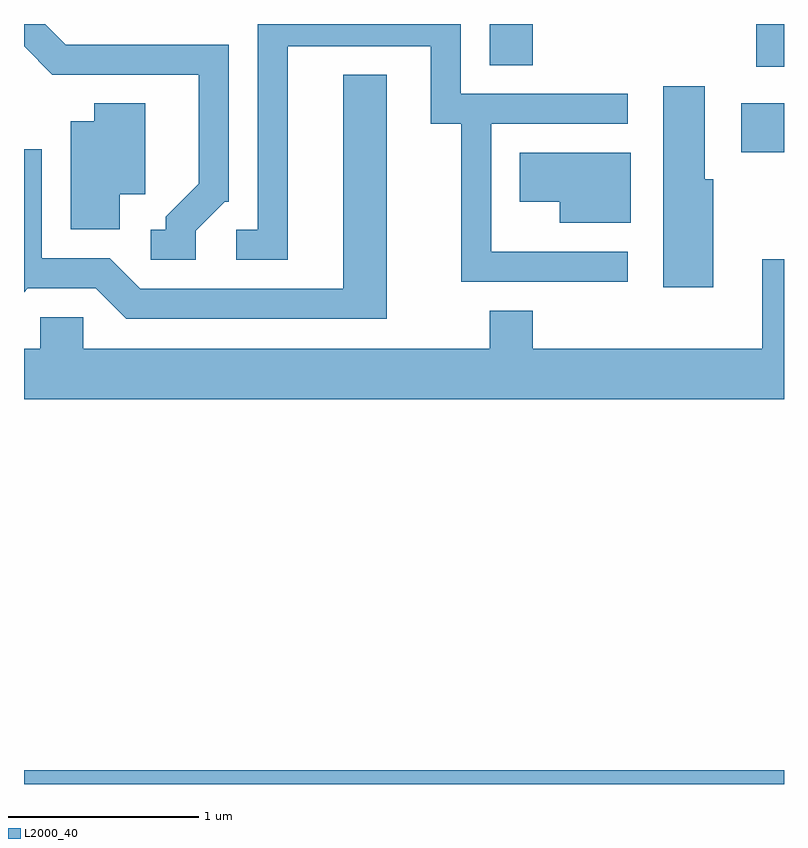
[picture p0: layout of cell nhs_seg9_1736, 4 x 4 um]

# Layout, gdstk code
import gdstk
lib = gdstk.Library(unit=1e-6, precision=1e-09)
def R(c, l, rs):  # rectangles x0, y0, x1, y1
    for r in rs: c.add(gdstk.rectangle(r[:2], r[2:], *l))
def P(c, l, *ps):  # polygons
    for p in ps: c.add(gdstk.Polygon(p, *l))
L2000_40 = (2000, 40)

nhs_seg9_1736 = lib.new_cell('nhs_seg9_1736')
R(nhs_seg9_1736, L2000_40, [(235.611,2016.432,239.611,2016.504), (239.386,2019.756,239.611,2020.014), (239.466,2020.206,239.611,2020.432), (238.061,2020.216,238.289,2020.432)])
P(nhs_seg9_1736, L2000_40, [(236.514,2019.344),(236.667,2019.496),(236.689,2019.496),(236.689,2020.324),(235.832,2020.324),(235.724,2020.432),(235.611,2020.432),(235.611,2020.314),(235.759,2020.166),(236.531,2020.166),(236.531,2019.592),(236.356,2019.417),(236.356,2019.349),(236.278,2019.349),(236.278,2019.191),(236.514,2019.191)],
  [(238.788,2019.234),(238.069,2019.234),(238.069,2019.906),(238.788,2019.906),(238.788,2020.064),(237.909,2020.064),(237.909,2020.432),(236.841,2020.432),(236.841,2019.349),(236.728,2019.349),(236.728,2019.191),(236.999,2019.191),(236.999,2020.316),(237.751,2020.316),(237.751,2019.906),(237.911,2019.906),(237.911,2019.076),(238.788,2019.076)],
  [(237.519,2020.164),(237.291,2020.164),(237.291,2019.039),(236.222,2019.039),(236.062,2019.199),(235.704,2019.199),(235.704,2019.773),(235.611,2019.773),(235.611,2019.02),(235.632,2019.041),(235.989,2019.041),(236.149,2018.881),(237.519,2018.881)],
  [(239.239,2019.614),(239.194,2019.614),(239.194,2020.104),(238.976,2020.104),(238.976,2019.046),(239.239,2019.046)],
  [(236.114,2019.536),(236.249,2019.536),(236.249,2020.014),(235.981,2020.014),(235.981,2019.919),(235.856,2019.919),(235.856,2019.351),(236.114,2019.351)],
  [(238.804,2019.754),(238.221,2019.754),(238.221,2019.496),(238.431,2019.496),(238.431,2019.386),(238.804,2019.386)],
  [(239.611,2019.193),(239.496,2019.193),(239.496,2018.724),(238.289,2018.724),(238.289,2018.924),(238.061,2018.924),(238.061,2018.724),(235.924,2018.724),(235.924,2018.889),(235.696,2018.889),(235.696,2018.724),(235.611,2018.724),(235.611,2018.456),(239.611,2018.456)])

lib.write_gds('nhs_seg9_1736.gds')
